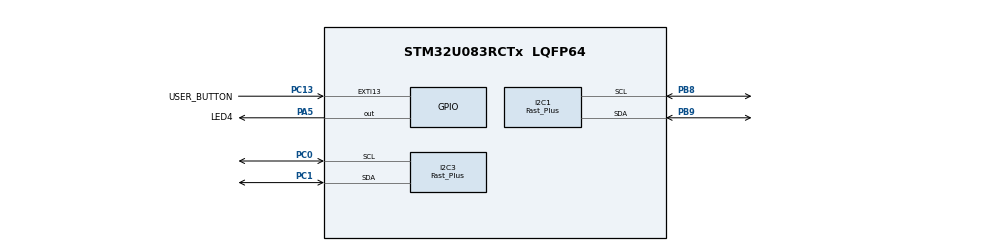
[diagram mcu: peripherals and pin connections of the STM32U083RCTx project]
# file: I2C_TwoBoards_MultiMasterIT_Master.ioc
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I2C1.I2C_Fall_Time=2
I2C1.I2C_Rise_Time=26
I2C1.I2C_Speed_Mode=I2C_Fast_Plus
I2C1.OwnAddress=I2C_MASTER1_ADDRESS
I2C1.Timing=0x0030081C
I2C3.I2C_Fall_Time=2
I2C3.I2C_Rise_Time=26
I2C3.I2C_Speed_Mode=I2C_Fast_Plus
I2C3.OwnAddress=I2C_MASTER2_ADDRESS
I2C3.Timing=0x0030081C
Mcu.Family=STM32U0
Mcu.Name=STM32U083RCTx
Mcu.Package=LQFP64
Mcu.UserConstants=I2C_MASTER1_ADDRESS,0x40;I2C_MASTER2_ADDRESS,0x20
NVIC.EXTI4_15_IRQn=true\:0\:0\:false\:false\:true\:true\:true\:true
NVIC.I2C1_IRQn=true\:0\:0\:false\:false\:true\:true\:true\:true
NVIC.I2C2_3_4_IRQn=true\:0\:0\:false\:false\:true\:true\:true\:true
NVIC.PriorityGroup=NVIC_PRIORITYGROUP_2
NVIC.TIM1_BRK_UP_TRG_COM_IRQn=true\:0\:0\:false\:false\:true\:true\:true\:true
PA5.GPIO_Label=LED4
PA5.Signal=GPIO_Output
PB8.GPIO_Pu=GPIO_PULLUP
PB8.GPIO_Speed=GPIO_SPEED_FREQ_HIGH
PB8.Mode=I2C
PB8.Signal=I2C1_SCL
PB9.GPIO_Pu=GPIO_PULLUP
PB9.GPIO_Speed=GPIO_SPEED_FREQ_HIGH
PB9.Mode=I2C
PB9.Signal=I2C1_SDA
PC0.GPIO_Pu=GPIO_PULLUP
PC0.GPIO_Speed=GPIO_SPEED_FREQ_HIGH
PC0.Mode=I2C
PC0.Signal=I2C3_SCL
PC1.GPIO_Pu=GPIO_PULLUP
PC1.GPIO_Speed=GPIO_SPEED_FREQ_HIGH
PC1.Mode=I2C
PC1.Signal=I2C3_SDA
PC13.GPIO_Label=USER_BUTTON
PC13.GPIO_ModeDefaultEXTI=GPIO_MODE_IT_FALLING
PC13.GPIO_PuPd=GPIO_PULLUP
PC13.Signal=GPXTI13
ProjectManager.HeapSize=0x200
ProjectManager.StackSize=0x400
ProjectManager.TargetToolchain=EWARM V9.20
RCC.ADCFreq_Value=48000000
RCC.AHBFreq_Value=48000000
RCC.CortexFreq_Value=48000000
RCC.HCLKFreq_Value=48000000
RCC.HSE_VALUE=4000000
RCC.HSI48_VALUE=48000000
RCC.HSI_VALUE=16000000
RCC.LSE_VALUE=32768
RCC.MSIClockRangeVal=RCC_MSIRANGE_11
RCC.MSI_VALUE=48000000
RCC.PLLSourceVirtual=RCC_PLLSOURCE_MSI
RCC.SYSCLKFreq_VALUE=48000000
RCC.SYSCLKSource=RCC_SYSCLKSOURCE_MSI
RCC.USBFreq_Value=48000000
RCC.VCOOutputFreq_Value=192000000
TIM1.Channel-Input_Capture1_from_TRC=TIM_CHANNEL_1
TIM1.Period=tim_period
TIM1.Prescaler=tim_prescaler
VP_PWR_VS_SECSignals.Mode=Security/Privilege
VP_TIM1_VS_CH1.Mode=Input_Capture1_from_TRC
VP_TIM1_VS_ClockSourceITR.Mode=TriggerSource_ITR0
board=custom

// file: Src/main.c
/* USER CODE BEGIN Header */
/**
  ******************************************************************************
  * @file    I2C/I2C_TwoBoards_MultiMasterIT_Master/Src/main.c
  * @author  MCD Application Team
  * @brief   This sample code shows how to use STM32U0xx I2C LL API to
  *          manage a Communication between two Masters and one Slave
  *          based on Interrupt procedure.
  ******************************************************************************
  * @attention
  *
  * Copyright (c) 2024 STMicroelectronics.
  * All rights reserved.
  *
  * This software is licensed under terms that can be found in the LICENSE file
  * in the root directory of this software component.
  * If no LICENSE file comes with this software, it is provided AS-IS.
  *
  ******************************************************************************
  */
/* USER CODE END Header */
#include "main.h"

/* USER CODE BEGIN PV */
/* Buffer used for transmission */
uint8_t aTxBufferMaster1 = 0xA5;
uint8_t aTxBufferMaster2 = 0xB5;

__IO uint8_t ubButtonPress = 0;

uint32_t Master1BusBusyCpt = 0;
uint32_t Master2BusBusyCpt = 0;

uint32_t transmit_done = 1;

static uint32_t tim_prescaler = 0;
static uint32_t tim_period = 0;
static uint32_t TimOutClock = 1;
/* USER CODE END PV */

void SystemClock_Config(void);
static void MX_GPIO_Init(void);
static void MX_I2C1_Init(void);
static void MX_I2C3_Init(void);
static void MX_TIM1_Init(void);
/* USER CODE BEGIN PFP */
void LED_On(void);
void LED_Off(void);
void LED_Toggle(void);
void LED_Blinking(uint32_t Period);
void WaitForUserButtonPress(void);
/* USER CODE END PFP */

int main(void)
{

  /* MCU Configuration--------------------------------------------------------*/

  /* Reset of all peripherals, Initializes the Flash interface and the Systick. */
  LL_APB1_GRP1_EnableClock(LL_APB1_GRP1_PERIPH_PWR);
  LL_APB1_GRP2_EnableClock(LL_APB1_GRP2_PERIPH_SYSCFG);

  /* System interrupt init*/
  NVIC_SetPriorityGrouping(NVIC_PRIORITYGROUP_2);

  /* SysTick_IRQn interrupt configuration */
  NVIC_SetPriority(SysTick_IRQn, NVIC_EncodePriority(NVIC_GetPriorityGrouping(),3, 0));

  /* Configure the system clock */
  SystemClock_Config();

  /* Initialize all configured peripherals */
  MX_GPIO_Init();
  MX_I2C1_Init();
  MX_I2C3_Init();
  MX_TIM1_Init();
  /* USER CODE BEGIN 2 */
  /* Set LED4 Off */
  LED_Off();

  /* Wait for USER push-button press to start transfer */
  WaitForUserButtonPress();

  /* Enable counter */
  LL_TIM_EnableCounter(TIM1);

  /* Enable the update interrupt */
  LL_TIM_EnableIT_UPDATE(TIM1);

  /* USER CODE END 2 */

  /* Infinite loop */
  while (1)
  {

    /* USER CODE BEGIN 3 */
    /* Wait for Master1 transmission to be done before doing a new one */
    if (transmit_done == 1)
    {
      transmit_done = 0;

      LL_I2C_HandleTransfer(I2C1, SLAVE_OWN_ADDRESS, LL_I2C_ADDRSLAVE_7BIT, 1, LL_I2C_MODE_AUTOEND, LL_I2C_GENERATE_START_WRITE);
    }
  }
  /* USER CODE END 3 */
}

void SystemClock_Config(void)
{
  LL_FLASH_SetLatency(LL_FLASH_LATENCY_1);
  while(LL_FLASH_GetLatency() != LL_FLASH_LATENCY_1)
  {
  }

  LL_PWR_SetRegulVoltageScaling(LL_PWR_REGU_VOLTAGE_SCALE1);
  while (LL_PWR_IsActiveFlag_VOS() != 0)
  {
  }
  LL_RCC_MSI_Enable();

   /* Wait till MSI is ready */
  while(LL_RCC_MSI_IsReady() != 1)
  {
  }

  LL_RCC_MSI_EnableRangeSelection();
  LL_RCC_MSI_SetRange(LL_RCC_MSIRANGE_11);
  LL_RCC_SetSysClkSource(LL_RCC_SYS_CLKSOURCE_MSI);

   /* Wait till System clock is ready */
  while(LL_RCC_GetSysClkSource() != LL_RCC_SYS_CLKSOURCE_STATUS_MSI)
  {
  }

  LL_RCC_SetAHBPrescaler(LL_RCC_SYSCLK_DIV_1);
  LL_RCC_SetAPB1Prescaler(LL_RCC_APB1_DIV_1);

  LL_Init1msTick(48000000);

  LL_SetSystemCoreClock(48000000);
}

static void MX_I2C1_Init(void)
{

  LL_I2C_InitTypeDef I2C_InitStruct = {0};

  LL_GPIO_InitTypeDef GPIO_InitStruct = {0};

  LL_RCC_SetI2CClockSource(LL_RCC_I2C1_CLKSOURCE_PCLK1);

  LL_IOP_GRP1_EnableClock(LL_IOP_GRP1_PERIPH_GPIOB);
  /**I2C1 GPIO Configuration
  PB8   ------> I2C1_SCL
  PB9   ------> I2C1_SDA
  */
  GPIO_InitStruct.Pin = LL_GPIO_PIN_8|LL_GPIO_PIN_9;
  GPIO_InitStruct.Mode = LL_GPIO_MODE_ALTERNATE;
  GPIO_InitStruct.Speed = LL_GPIO_SPEED_FREQ_HIGH;
  GPIO_InitStruct.OutputType = LL_GPIO_OUTPUT_OPENDRAIN;
  GPIO_InitStruct.Pull = LL_GPIO_PULL_UP;
  GPIO_InitStruct.Alternate = LL_GPIO_AF_4;
  LL_GPIO_Init(GPIOB, &GPIO_InitStruct);

  /* Peripheral clock enable */
  LL_APB1_GRP1_EnableClock(LL_APB1_GRP1_PERIPH_I2C1);

  /* I2C1 interrupt Init */
  NVIC_SetPriority(I2C1_IRQn, NVIC_EncodePriority(NVIC_GetPriorityGrouping(),0, 0));
  NVIC_EnableIRQ(I2C1_IRQn);

  /** I2C Initialization
  */
  LL_I2C_EnableAutoEndMode(I2C1);
  LL_I2C_DisableOwnAddress2(I2C1);
  LL_I2C_DisableGeneralCall(I2C1);
  LL_I2C_EnableClockStretching(I2C1);
  I2C_InitStruct.Timing = 0x0030081C;
  I2C_InitStruct.AnalogFilter = LL_I2C_ANALOGFILTER_ENABLE;
  I2C_InitStruct.DigitalFilter = 0;
  I2C_InitStruct.OwnAddress1 = I2C_MASTER1_ADDRESS;
  I2C_InitStruct.TypeAcknowledge = LL_I2C_ACK;
  I2C_InitStruct.OwnAddrSize = LL_I2C_OWNADDRESS1_7BIT;
  LL_I2C_Init(I2C1, &I2C_InitStruct);
  LL_I2C_SetOwnAddress2(I2C1, 0, LL_I2C_OWNADDRESS2_NOMASK);

  /** I2C Fast mode Plus enable
  */
  LL_I2C_EnableFastModePlus(I2C1);
  /* USER CODE BEGIN I2C1_Init 2 */
  LL_I2C_EnableIT_TX(I2C1);
  LL_I2C_EnableIT_NACK(I2C1);
  LL_I2C_EnableIT_ERR(I2C1);
  LL_I2C_EnableIT_STOP(I2C1);
  /* USER CODE END I2C1_Init 2 */

}

static void MX_I2C3_Init(void)
{

  LL_I2C_InitTypeDef I2C_InitStruct = {0};

  LL_GPIO_InitTypeDef GPIO_InitStruct = {0};

  LL_RCC_SetI2CClockSource(LL_RCC_I2C3_CLKSOURCE_PCLK1);

  LL_IOP_GRP1_EnableClock(LL_IOP_GRP1_PERIPH_GPIOC);
  /**I2C3 GPIO Configuration
  PC0   ------> I2C3_SCL
  PC1   ------> I2C3_SDA
  */
  GPIO_InitStruct.Pin = LL_GPIO_PIN_0|LL_GPIO_PIN_1;
  GPIO_InitStruct.Mode = LL_GPIO_MODE_ALTERNATE;
  GPIO_InitStruct.Speed = LL_GPIO_SPEED_FREQ_HIGH;
  GPIO_InitStruct.OutputType = LL_GPIO_OUTPUT_OPENDRAIN;
  GPIO_InitStruct.Pull = LL_GPIO_PULL_UP;
  GPIO_InitStruct.Alternate = LL_GPIO_AF_4;
  LL_GPIO_Init(GPIOC, &GPIO_InitStruct);

  /* Peripheral clock enable */
  LL_APB1_GRP1_EnableClock(LL_APB1_GRP1_PERIPH_I2C3);

  /* I2C3 interrupt Init */
  NVIC_SetPriority(I2C2_3_4_IRQn, NVIC_EncodePriority(NVIC_GetPriorityGrouping(),0, 0));
  NVIC_EnableIRQ(I2C2_3_4_IRQn);

  /** I2C Initialization
  */
  LL_I2C_EnableAutoEndMode(I2C3);
  LL_I2C_DisableOwnAddress2(I2C3);
  LL_I2C_DisableGeneralCall(I2C3);
  LL_I2C_EnableClockStretching(I2C3);
  I2C_InitStruct.Timing = 0x0030081C;
  I2C_InitStruct.AnalogFilter = LL_I2C_ANALOGFILTER_ENABLE;
  I2C_InitStruct.DigitalFilter = 0;
  I2C_InitStruct.OwnAddress1 = 64;
  I2C_InitStruct.TypeAcknowledge = LL_I2C_ACK;
  I2C_InitStruct.OwnAddrSize = LL_I2C_OWNADDRESS1_7BIT;
  LL_I2C_Init(I2C3, &I2C_InitStruct);
  LL_I2C_SetOwnAddress2(I2C3, 0, LL_I2C_OWNADDRESS2_NOMASK);

  /** I2C Fast mode Plus enable
  */
  LL_I2C_EnableFastModePlus(I2C3);
  /* USER CODE BEGIN I2C3_Init 2 */
  LL_I2C_EnableIT_TX(I2C3);
  LL_I2C_EnableIT_NACK(I2C3);
  LL_I2C_EnableIT_ERR(I2C3);
  LL_I2C_EnableIT_STOP(I2C3);
  /* USER CODE END I2C3_Init 2 */

}

static void MX_TIM1_Init(void)
{

  /* USER CODE BEGIN TIM1_Init 0 */
  tim_prescaler = __LL_TIM_CALC_PSC(SystemCoreClock, 10000);

  /* TIM1CLK = SystemCoreClock / (APB prescaler & multiplier)              */
  TimOutClock = SystemCoreClock/1;
  tim_period = __LL_TIM_CALC_ARR(TimOutClock, tim_prescaler, 175);
  /* USER CODE END TIM1_Init 0 */

  LL_TIM_InitTypeDef TIM_InitStruct = {0};

  LL_RCC_SetTIMClockSource(LL_RCC_TIM1_CLKSOURCE_PCLK1);

  /* Peripheral clock enable */
  LL_APB1_GRP2_EnableClock(LL_APB1_GRP2_PERIPH_TIM1);

  /* TIM1 interrupt Init */
  NVIC_SetPriority(TIM1_BRK_UP_TRG_COM_IRQn, NVIC_EncodePriority(NVIC_GetPriorityGrouping(),0, 0));
  NVIC_EnableIRQ(TIM1_BRK_UP_TRG_COM_IRQn);

  TIM_InitStruct.Prescaler = tim_prescaler;
  TIM_InitStruct.CounterMode = LL_TIM_COUNTERMODE_UP;
  TIM_InitStruct.Autoreload = tim_period;
  TIM_InitStruct.ClockDivision = LL_TIM_CLOCKDIVISION_DIV1;
  TIM_InitStruct.RepetitionCounter = 0;
  LL_TIM_Init(TIM1, &TIM_InitStruct);
  LL_TIM_DisableARRPreload(TIM1);
  LL_TIM_SetTriggerInput(TIM1, LL_TIM_TS_ITR0);
  LL_TIM_SetSlaveMode(TIM1, LL_TIM_SLAVEMODE_DISABLED);
  LL_TIM_DisableIT_TRIG(TIM1);
  LL_TIM_DisableDMAReq_TRIG(TIM1);
  LL_TIM_SetTriggerOutput(TIM1, LL_TIM_TRGO_RESET);
  LL_TIM_SetTriggerOutput2(TIM1, LL_TIM_TRGO2_RESET);
  LL_TIM_DisableMasterSlaveMode(TIM1);
  LL_TIM_IC_SetActiveInput(TIM1, LL_TIM_CHANNEL_CH1, LL_TIM_ACTIVEINPUT_TRC);
  LL_TIM_IC_SetPrescaler(TIM1, LL_TIM_CHANNEL_CH1, LL_TIM_ICPSC_DIV1);
  LL_TIM_IC_SetFilter(TIM1, LL_TIM_CHANNEL_CH1, LL_TIM_IC_FILTER_FDIV1);
  LL_TIM_IC_SetPolarity(TIM1, LL_TIM_CHANNEL_CH1, LL_TIM_IC_POLARITY_RISING);

}

static void MX_GPIO_Init(void)
{
  LL_EXTI_InitTypeDef EXTI_InitStruct = {0};
  LL_GPIO_InitTypeDef GPIO_InitStruct = {0};

  /* GPIO Ports Clock Enable */
  LL_IOP_GRP1_EnableClock(LL_IOP_GRP1_PERIPH_GPIOC);
  LL_IOP_GRP1_EnableClock(LL_IOP_GRP1_PERIPH_GPIOA);
  LL_IOP_GRP1_EnableClock(LL_IOP_GRP1_PERIPH_GPIOB);

  /**/
  LL_GPIO_ResetOutputPin(LED4_GPIO_Port, LED4_Pin);

  /**/
  LL_EXTI_SetEXTISource(LL_EXTI_CONFIG_PORTC, LL_EXTI_CONFIG_LINE13);

  /**/
  EXTI_InitStruct.Line_0_31 = LL_EXTI_LINE_13;
  EXTI_InitStruct.LineCommand = ENABLE;
  EXTI_InitStruct.Mode = LL_EXTI_MODE_IT;
  EXTI_InitStruct.Trigger = LL_EXTI_TRIGGER_FALLING;
  LL_EXTI_Init(&EXTI_InitStruct);

  /**/
  LL_GPIO_SetPinPull(USER_BUTTON_GPIO_Port, USER_BUTTON_Pin, LL_GPIO_PULL_UP);

  /**/
  LL_GPIO_SetPinMode(USER_BUTTON_GPIO_Port, USER_BUTTON_Pin, LL_GPIO_MODE_INPUT);

  /**/
  GPIO_InitStruct.Pin = LED4_Pin;
  GPIO_InitStruct.Mode = LL_GPIO_MODE_OUTPUT;
  GPIO_InitStruct.Speed = LL_GPIO_SPEED_FREQ_LOW;
  GPIO_InitStruct.OutputType = LL_GPIO_OUTPUT_PUSHPULL;
  GPIO_InitStruct.Pull = LL_GPIO_PULL_NO;
  LL_GPIO_Init(LED4_GPIO_Port, &GPIO_InitStruct);

  /* EXTI interrupt init*/
  NVIC_SetPriority(EXTI4_15_IRQn, NVIC_EncodePriority(NVIC_GetPriorityGrouping(),0, 0));
  NVIC_EnableIRQ(EXTI4_15_IRQn);

}

/* USER CODE BEGIN 4 */
/**
  * @brief  Function called from I2C IRQ Handler when TXIS flag is set
  *         Function is in charge of transmit a byte on I2C1 lines for
  *         Master1.
  * @param  None
  * @retval None
  */
void Master1_Ready_To_Transmit_Callback()
{
  /* Send the Byte requested by the Master */
  LL_I2C_TransmitData8(I2C1, (uint8_t)aTxBufferMaster1);
}

/**
  * @brief  Function called from I2C IRQ Handler when TXIS flag is set
  *         Function is in charge of transmit a byte on I2C3 lines for
  *         Master2.
  * @param  None
  * @retval None
  */
void Master2_Ready_To_Transmit_Callback()
{
  /* Send the Byte requested by the Master */
  LL_I2C_TransmitData8(I2C3, (uint8_t)aTxBufferMaster2);
}

/**
  * @brief  Function called from I2C IRQ Handler when STOP flag is set
  *         LED4 is On if data are correct for Master1.
  * @param  None
  * @retval None
  */
void Master1_Complete_Callback()
{
  transmit_done = 1;

  /* Increment Multimaster Busy bus detection */
  Master1BusBusyCpt++;

  /* LED toggle when the transmission is done */
  LED_Toggle();
}

/**
  * @brief  Function called from I2C IRQ Handler when STOP flag is set
  *         LED4 is On if data are correct for Master2.
  * @param  None
  * @retval None
  */
void Master2_Complete_Callback()
{
  /* Increment Multimaster Busy bus detection */
  Master2BusBusyCpt++;

  /* LED toggle when the transmission is done */
  LED_Toggle();
}

/**
  * @brief  Timer update interrupt processing
  * @param  None
  * @retval None
  */
void TimerUpdate_Callback(void)
{
  /* Master Generate Start condition for a read request:
  *  - to the Slave with a 7-Bit SLAVE_OWN_ADDRESS
  *  - with a auto stop condition generation when send 1 byte
  */
  LL_I2C_HandleTransfer(I2C3, SLAVE_OWN_ADDRESS, LL_I2C_ADDRSLAVE_7BIT, 1, LL_I2C_MODE_AUTOEND, LL_I2C_GENERATE_START_WRITE);
}

/* USER_BUTTON functions */
/**
  * @brief  Wait for USER push-button press to start transfer.
  * @param  None
  * @retval None
  */
void WaitForUserButtonPress(void)
{
  while (ubButtonPress == 0)
  {
    LL_GPIO_TogglePin(LED4_GPIO_Port, LED4_Pin);
    LL_mDelay(LED_BLINK_FAST);
  }
  /* Turn LED4 off */
  LL_GPIO_ResetOutputPin(LED4_GPIO_Port, LED4_Pin);
}

/**
  * @brief  Master1 I2C error callback.
  * @param  None
  * @retval None
  */
void Master1_Error_Callback(void)
{

  /* Error_Handler() function is called when error occurs.*/
  /* 1- When Slave don't acknowledge it's address, Master restarts communication. */
  /* 2- When Master don't acknowledge the last data transferred, Slave don't care in this example. */
  if (LL_I2C_IsActiveFlag_ARLO(I2C1) == 1)
  {
    /* Workaround deadlock appear due to BUS error detection Errata 64209: START badly generated after misplaced STOP */
    /* Workaround deadlock appear due to BUS error detection Errata I2C-090401 : Robustness issue when receiving an
    illegal void message (no SCL edges between a START and a STOP condition) */
    LL_I2C_DeInit(I2C1);

    MX_I2C1_Init();
  }
  else
  {
    Error_Handler();
  }
}

/**
  * @brief  Master2 I2C error callback.
  * @param  None
  * @retval None
  */
void Master2_Error_Callback(void)
{
  /* Error_Handler() function is called when error occurs.*/
  /* 1- When Slave don't acknowledge it's address, Master restarts communication. */
  /* 2- When Master don't acknowledge the last data transferred, Slave don't care in this example. */
  if (LL_I2C_IsActiveFlag_ARLO(I2C3) == 1)
  {
    /* Workaround deadlock appear due to BUS error detection Errata 64209: START badly generated after misplaced STOP */
    /* Workaround deadlock appear due to BUS error detection Errata I2C-090401 : Robustness issue when receiving an
    illegal void message (no SCL edges between a START and a STOP condition) */
    LL_I2C_DeInit(I2C3);

    MX_I2C3_Init();
  }
  else
  {
    Error_Handler();
  }
}

/**
  * @brief  Function to manage USER push-button
  * @param  None
  * @retval None
  */
void UserButton_Callback(void)
{
  /* Update USER push-button variable : to be checked in waiting loop in main program */
  ubButtonPress = 1;
}

/* LED functions */
/**
  * @brief  Turn-on LED4.
  * @param  None
  * @retval None
  */
void LED_On(void)
{
  /* Turn LED4 on */
  LL_GPIO_SetOutputPin(LED4_GPIO_Port, LED4_Pin);
}

/**
  * @brief  Turn-off LED4.
  * @param  None
  * @retval None
  */
void LED_Off(void)
{
  /* Turn LED4 off */
  LL_GPIO_ResetOutputPin(LED4_GPIO_Port, LED4_Pin);
}

/**
  * @brief  Toggle LED4.
  * @param  None
  * @retval None
  */
void LED_Toggle(void)
{
  /* Turn LED4 on */
  LL_GPIO_TogglePin(LED4_GPIO_Port, LED4_Pin);
}

/**
  * @brief  Set LED4 to Blinking mode for an infinite loop (toggle period based on value provided as input parameter).
  * @param  Period : Period of time (in ms) between each toggling of LED
  *   This parameter can be user defined values. Pre-defined values used in that example are :
  *     @arg LED_BLINK_FAST : Fast Blinking
  *     @arg LED_BLINK_SLOW : Slow Blinking
  *     @arg LED_BLINK_ERROR : Error specific Blinking
  * @retval None
  */
void LED_Blinking(uint32_t Period)
{
  /* Turn LED4 on */
  LED_On();

  /* Toggle IO in an infinite loop */
  while (1)
  {
    LED_Toggle();
    LL_mDelay(Period);
  }
}
/* USER CODE END 4 */

void Error_Handler(void)
{
  /* USER CODE BEGIN Error_Handler_Debug */
  /* User can add his own implementation to report the HAL error return state */
  __disable_irq();
  while (1)
  {
    /* Unexpected event : Set LED4 to Blinking mode to indicate error occurs */
    LED_Blinking(LED_BLINK_ERROR);
  }
  /* USER CODE END Error_Handler_Debug */
}
